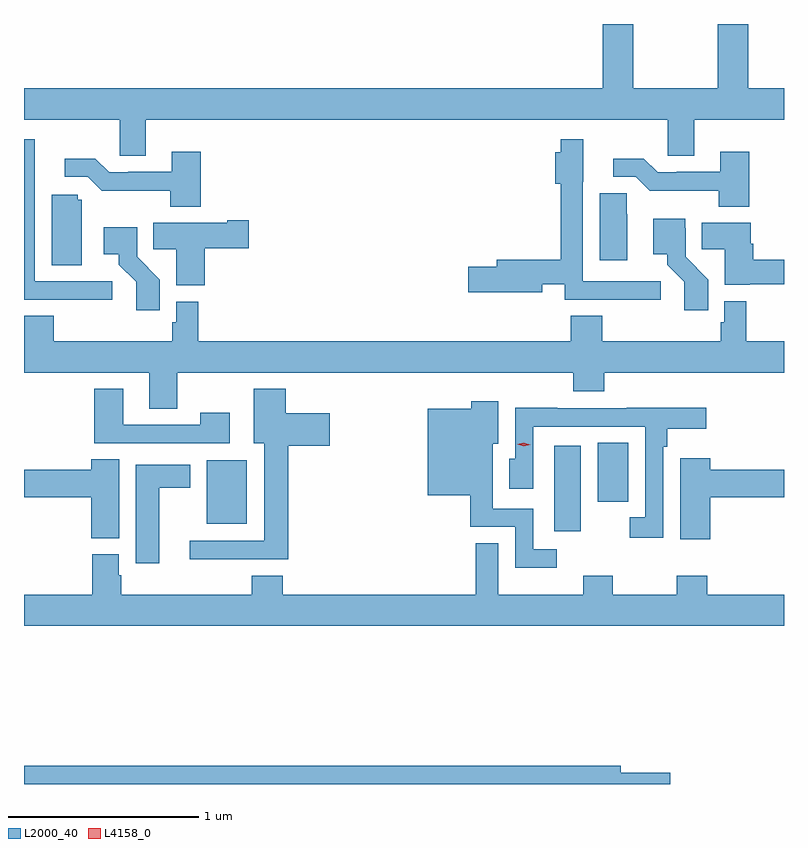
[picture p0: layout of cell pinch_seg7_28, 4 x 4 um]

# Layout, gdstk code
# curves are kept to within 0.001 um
import gdstk
lib = gdstk.Library(unit=1e-6, precision=1e-09)
def R(c, l, rs):  # rectangles x0, y0, x1, y1
    for r in rs: c.add(gdstk.rectangle(r[:2], r[2:], *l))
def P(c, l, *ps):  # polygons
    for p in ps: c.add(gdstk.Polygon(p, *l))
L2000_40 = (2000, 40)
L4158_0 = (4158, 0)

pinch_seg7_28 = lib.new_cell('pinch_seg7_28')
R(pinch_seg7_28, L2000_40, [(1068.218,1074.372,1068.358,1074.823), (1066.388,1074.413,1066.6,1074.748), (1068.446,1074.528,1068.607,1074.839)])
P(pinch_seg7_28, L2000_40, [(1066.069,1076.54),(1068.816,1076.54),(1068.816,1076.35),(1068.955,1076.35),(1068.955,1076.54),(1069.427,1076.54),(1069.427,1076.704),(1069.238,1076.704),(1069.238,1077.043),(1069.078,1077.043),(1069.078,1076.704),(1068.633,1076.704),(1068.633,1077.043),(1068.473,1077.043),(1068.473,1076.704),(1065.427,1076.704),(1065.427,1076.54),(1065.93,1076.54),(1065.93,1076.35),(1066.069,1076.35)],
  [(1065.892,1075.689),(1065.483,1075.689),(1065.483,1076.214),(1065.484,1076.214),(1065.484,1076.437),(1065.427,1076.437),(1065.427,1075.593),(1065.667,1075.593),(1065.667,1075.591),(1065.892,1075.591)],
  [(1068.778,1075.689),(1068.369,1075.689),(1068.369,1076.214),(1068.37,1076.214),(1068.37,1076.437),(1068.253,1076.437),(1068.253,1076.368),(1068.224,1076.368),(1068.224,1076.203),(1068.253,1076.203),(1068.253,1075.802),(1067.915,1075.802),(1067.915,1075.766),(1067.766,1075.766),(1067.766,1075.631),(1068.154,1075.631),(1068.154,1075.674),(1068.273,1075.674),(1068.273,1075.593),(1068.553,1075.593),(1068.553,1075.591),(1068.778,1075.591)],
  [(1066.358,1076.371),(1066.205,1076.371),(1066.205,1076.265),(1065.976,1076.265),(1065.976,1076.262),(1065.876,1076.262),(1065.803,1076.335),(1065.642,1076.335),(1065.642,1076.238),(1065.762,1076.238),(1065.835,1076.165),(1066.198,1076.166),(1066.198,1076.081),(1066.358,1076.081)],
  [(1069.244,1076.371),(1069.091,1076.371),(1069.091,1076.265),(1068.862,1076.265),(1068.862,1076.262),(1068.762,1076.262),(1068.689,1076.335),(1068.528,1076.335),(1068.528,1076.238),(1068.648,1076.238),(1068.721,1076.166),(1069.084,1076.166),(1069.084,1076.081),(1069.244,1076.081)],
  [(1068.601,1076.042),(1068.6,1076.042),(1068.6,1076.153),(1068.458,1076.153),(1068.458,1075.8),(1068.601,1075.8)],
  [(1065.73,1076.118),(1065.711,1076.118),(1065.711,1076.145),(1065.572,1076.145),(1065.572,1075.774),(1065.73,1075.774)],
  [(1069.028,1075.698),(1068.909,1075.817),(1068.909,1075.968),(1068.907,1075.968),(1068.907,1076.017),(1068.74,1076.017),(1068.74,1075.832),(1068.812,1075.832),(1068.812,1075.777),(1068.903,1075.687),(1068.903,1075.536),(1069.028,1075.536)],
  [(1066.379,1075.862),(1066.609,1075.862),(1066.609,1076.009),(1066.496,1076.009),(1066.496,1075.996),(1066.108,1075.996),(1066.108,1075.858),(1066.229,1075.858),(1066.229,1075.667),(1066.379,1075.667)],
  [(1069.248,1075.674),(1069.427,1075.674),(1069.427,1075.802),(1069.265,1075.802),(1069.265,1075.886),(1069.252,1075.886),(1069.252,1075.996),(1068.994,1075.996),(1068.994,1075.858),(1069.115,1075.858),(1069.115,1075.67),(1069.248,1075.67)],
  [(1066.142,1075.698),(1066.023,1075.817),(1066.023,1075.972),(1065.846,1075.972),(1065.846,1075.832),(1065.926,1075.832),(1065.926,1075.777),(1066.017,1075.687),(1066.017,1075.536),(1066.142,1075.536)],
  [(1066.233,1075.208),(1068.317,1075.208),(1068.317,1075.109),(1068.482,1075.109),(1068.482,1075.208),(1069.427,1075.208),(1069.427,1075.372),(1069.229,1075.372),(1069.229,1075.585),(1069.113,1075.585),(1069.113,1075.473),(1069.093,1075.473),(1069.093,1075.372),(1068.47,1075.372),(1068.47,1075.508),(1068.305,1075.508),(1068.305,1075.372),(1066.343,1075.372),(1066.343,1075.582),(1066.227,1075.582),(1066.227,1075.473),(1066.207,1075.473),(1066.207,1075.372),(1065.584,1075.372),(1065.584,1075.508),(1065.427,1075.508),(1065.427,1075.208),(1066.085,1075.208),(1066.085,1075.018),(1066.233,1075.018)],
  [(1066.817,1074.824),(1067.035,1074.824),(1067.035,1074.994),(1066.804,1074.994),(1066.804,1075.123),(1066.637,1075.123),(1066.637,1074.836),(1066.691,1074.836),(1066.691,1074.324),(1066.299,1074.324),(1066.299,1074.227),(1066.817,1074.227)],
  [(1066.51,1074.997),(1066.354,1074.997),(1066.354,1074.933),(1065.949,1074.933),(1065.949,1075.123),(1065.797,1075.123),(1065.797,1074.837),(1066.51,1074.837)],
  [(1068.232,1074.279),(1068.108,1074.279),(1068.108,1074.492),(1067.893,1074.492),(1067.893,1074.833),(1067.923,1074.833),(1067.923,1075.057),(1067.78,1075.057),(1067.78,1075.018),(1067.552,1075.018),(1067.552,1074.563),(1067.775,1074.563),(1067.775,1074.396),(1068.012,1074.396),(1068.012,1074.182),(1068.232,1074.182)],
  [(1068.792,1074.818),(1068.812,1074.818),(1068.812,1074.914),(1069.018,1074.914),(1069.018,1075.022),(1068.599,1075.022),(1068.599,1075.02),(1068.233,1075.02),(1068.233,1075.022),(1068.012,1075.022),(1068.012,1074.756),(1067.981,1074.756),(1067.981,1074.597),(1068.108,1074.597),(1068.108,1074.924),(1068.696,1074.924),(1068.696,1074.447),(1068.615,1074.447),(1068.615,1074.339),(1068.792,1074.339)],
  [(1069.04,1074.551),(1069.427,1074.551),(1069.427,1074.698),(1069.04,1074.698),(1069.04,1074.757),(1068.881,1074.757),(1068.881,1074.33),(1069.04,1074.33)],
  [(1065.928,1074.752),(1065.782,1074.752),(1065.782,1074.698),(1065.427,1074.698),(1065.427,1074.551),(1065.782,1074.551),(1065.782,1074.337),(1065.928,1074.337)],
  [(1066.138,1074.602),(1066.303,1074.602),(1066.303,1074.724),(1066.016,1074.724),(1066.016,1074.204),(1066.138,1074.204)],
  [(1069.427,1074.04),(1069.022,1074.04),(1069.022,1074.139),(1068.862,1074.139),(1068.862,1074.04),(1068.525,1074.04),(1068.525,1074.139),(1068.37,1074.139),(1068.37,1074.04),(1067.923,1074.04),(1067.923,1074.311),(1067.805,1074.311),(1067.805,1074.04),(1066.79,1074.04),(1066.79,1074.139),(1066.625,1074.139),(1066.625,1074.04),(1065.938,1074.04),(1065.938,1074.141),(1065.925,1074.141),(1065.925,1074.252),(1065.785,1074.252),(1065.785,1074.04),(1065.427,1074.04),(1065.427,1073.876),(1069.427,1073.876)],
  [(1068.829,1073.102),(1068.568,1073.102),(1068.568,1073.138),(1065.427,1073.138),(1065.427,1073.043),(1068.829,1073.043)])
P(pinch_seg7_28, L4158_0, [(1068.057,1074.82),(1068.022,1074.83),(1068.022,1074.83),(1068.022,1074.83),(1068.057,1074.839),(1068.092,1074.829),(1068.092,1074.829),(1068.092,1074.829)])

lib.write_gds('pinch_seg7_28.gds')
